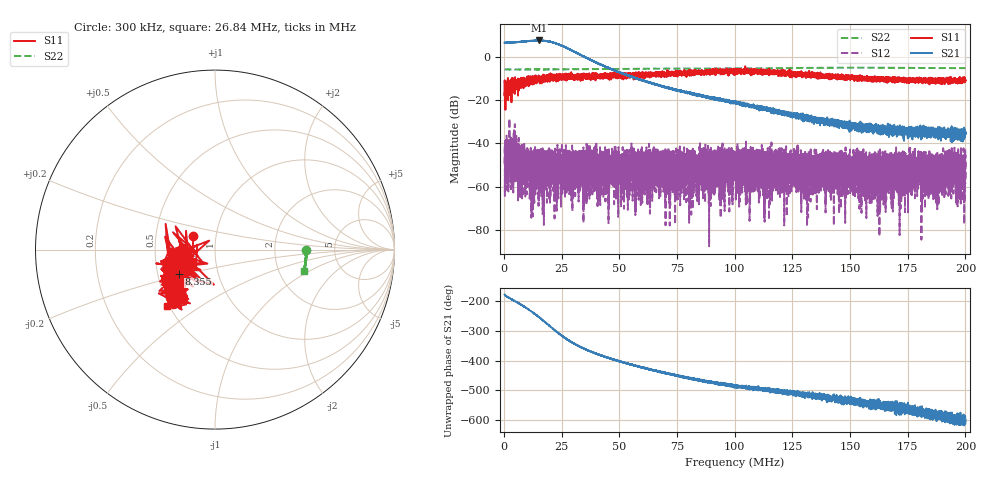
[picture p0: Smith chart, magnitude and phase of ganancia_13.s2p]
# Hz S DB R 50
! CMT, M5065, 19127446, 24.2.4/2
! Date: 11/8/2024 4:55:54 PM
! Data: Format (Calibration Info)
! Freq	S11:dB/Ang(F2)	S21:dB/Ang(F2)	S12:dB/Ang(F2)	S22:dB/Ang(F2)
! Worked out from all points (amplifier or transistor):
!   9000 points, 300 kHz to 200 MHz, reference 50 ohm
!   highest |S21| = 7.5 dB at 15.15 MHz (marker M1)
!   |S21| within 3 dB of that: start of sweep to 26.22 MHz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
!   unconditionally stable (mu >= 1): start of sweep to end of sweep
!   at 33.59 MHz: K = 121.96, MAG = 2.5 dB, |S12| = -52.2 dB
!   at 100.2 MHz: K = 1077.87, MAG = -18.3 dB, |S12| = -50.9 dB
!   at 200 MHz: K = 16910.50, MAG = -33.8 dB, |S12| = -58.7 dB
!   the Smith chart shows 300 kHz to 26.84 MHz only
!   S11 on the Smith chart (normalised r, x): 300 kHz: 0.78, +0.12; 8.355 MHz: 0.64, -0.19; 26.84 MHz: 0.49, -0.37
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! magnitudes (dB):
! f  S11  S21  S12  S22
! 300 kHz  -16.9  6.5  -49.3  -5.9
! 2.985 MHz  -16.5  6.6  -41.7  -5.9
! 8.355 MHz  -12.3  7.0  -51.6  -5.9
! 12.17 MHz  -10.2  7.3  -53.1  -5.9
! 15.15 MHz  -10.2  7.5  -45.4  -5.9
! 17.81 MHz  -9.6  7.3  -51.9  -5.8
! 26.84 MHz  -7.7  4.3  -50.5  -5.8
! 33.59 MHz  -8.9  0.6  -52.2  -5.7
! 39.33 MHz  -8.8  -2.3  -45.4  -5.7
! 41.2 MHz  -8.4  -3.3  -60.4  -5.7
! 46.75 MHz  -8.5  -5.7  -56.8  -5.7
! 51.5 MHz  -8.4  -7.9  -45.2  -5.6
! 55.78 MHz  -8.1  -9.4  -66.5  -5.6
! 59.37 MHz  -9.0  -10.6  -44.5  -5.6
! 66.87 MHz  -7.9  -13.1  -58.0  -5.5
! 100.2 MHz  -6.6  -20.9  -50.9  -5.4
! 104.1 MHz  -5.8  -21.7  -47.6  -5.4
! 133.4 MHz  -9.1  -28.7  -51.6  -5.2
! 166.7 MHz  -10.2  -34.1  -51.2  -5.1
! 194.9 MHz  -10.1  -36.3  -48.0  -5.3
! 199 MHz  -11.2  -35.4  -56.3  -5.3
! 200 MHz  -10.9  -35.7  -58.7  -5.3
